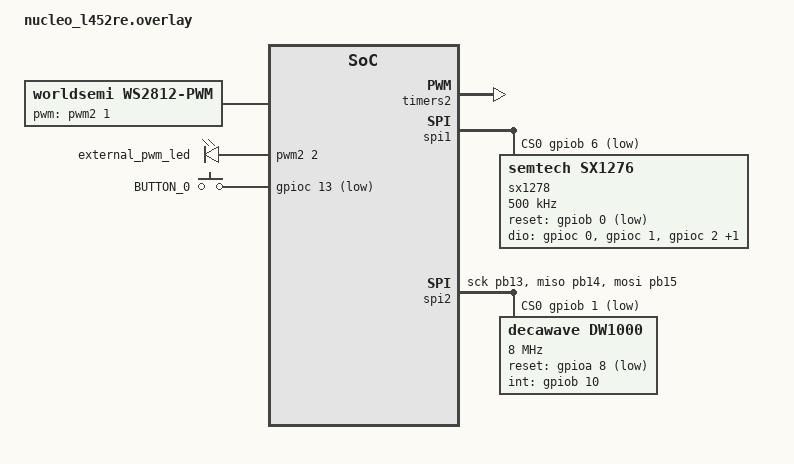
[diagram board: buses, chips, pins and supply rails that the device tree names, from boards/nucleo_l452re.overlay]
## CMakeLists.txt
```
cmake_minimum_required(VERSION 3.20)

if(NOT DEFINED BOARD)
    set(BOARD nucleo_l452re)
endif()

include(${CMAKE_CURRENT_SOURCE_DIR}/../modules/rts-zephyr/clion-zephyr.cmake)

project(lora_russia_railways VERSION 0.0.0)
FILE(GLOB_RECURSE SOURCES src/*.c src/*.cc src/*.cpp)
target_sources(app PRIVATE ${SOURCES})
target_include_directories(app PRIVATE ${CMAKE_CURRENT_SOURCE_DIR}/src/libs)
```

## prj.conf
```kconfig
# Common CONFIG begin
CONFIG_CPLUSPLUS=y
CONFIG_LIB_CPLUSPLUS=y
CONFIG_STD_CPP17=y
CONFIG_SYSTEM_WORKQUEUE_PRIORITY=0
# Common CONFIG end

# LoRa CONFIG begin
CONFIG_LORA=y
CONFIG_LORA_SX12XX=y
CONFIG_LORA_SX127X=y
CONFIG_HAS_SEMTECH_RADIO_DRIVERS=y
# LoRa CONFIG end

# WS2812 CONFIG begin
CONFIG_LED_STRIP=y
CONFIG_WS2812_STRIP=y
CONFIG_LED_UTILS=y
CONFIG_WS2812_STRIP_PWM=y
# WS2812 CONFIG end

# # DWM1000 CONFIG begin
CONFIG_MESHPOSITION=y
CONFIG_DW1000=y
CONFIG_DW1000_STARTUP_LOADUCODE=y
# # DWM1000 CONFIG end

# RNG GONFIG begin
CONFIG_ENTROPY_GENERATOR=y
CONFIG_ENTROPY_DEVICE_RANDOM_GENERATOR=y
CONFIG_ENTROPY_STM32_RNG=y
# RNG GONFIG end

# Peripherals CONFIG begin
CONFIG_GPIO=y
CONFIG_SPI=y
# CONFIG_SPI_STM32_DMA=y
CONFIG_PWM=y
CONFIG_DMA=y
# Peripherals CONFIG end

# Print CONFIG begin
CONFIG_NEWLIB_LIBC=y
CONFIG_NEWLIB_LIBC_FLOAT_PRINTF=y
CONFIG_PRINTK=y
# Print CONFIG end

# Stack CONFIG begin
CONFIG_MAIN_STACK_SIZE=4096
# CONFIG_IDLE_STACK_SIZE=4096
# CONFIG_LOG_PROCESS_THREAD_STACK_SIZE=4096
# CONFIG_SYSTEM_WORKQUEUE_STACK_SIZE=4096
# Stack CONFIG end
```

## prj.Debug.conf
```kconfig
# Optimize for debug
CONFIG_DEBUG_OPTIMIZATIONS=y

CONFIG_LOG=y
CONFIG_LOG_BACKEND_UART=y
CONFIG_LORA_LOG_LEVEL_DBG=y
CONFIG_LED_STRIP_LOG_LEVEL_DBG=y
CONFIG_LOG_DEFAULT_LEVEL=4
```

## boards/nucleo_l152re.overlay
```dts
/*
 * SPDX-License-Identifier: Apache-2.0
 *
 * Copyright (c) 2021 Planet Innovation
 */

&spi1 {
    pinctrl-0 = <&spi1_sck_pa5 &spi1_miso_pa6 &spi1_mosi_pa7>;
    status = "okay";
    cs-gpios = <&gpiob 6 (GPIO_ACTIVE_LOW)>;
    lora0: sx1278@0 {
        compatible = "semtech,sx1276";
        reg = <0>;
        label = "sx1278";
        reset-gpios = <&gpiob 0 (GPIO_ACTIVE_LOW | GPIO_OPEN_DRAIN)>; // GPIO_ACTIVE_LOW
        dio-gpios = <&gpioc 0 (GPIO_ACTIVE_HIGH | GPIO_PULL_DOWN)>,
                    <&gpioc 1 (GPIO_ACTIVE_HIGH | GPIO_PULL_DOWN)>,
                    <&gpioc 2 (GPIO_ACTIVE_HIGH | GPIO_PULL_DOWN)>,
                    <&gpioc 3 (GPIO_ACTIVE_HIGH | GPIO_PULL_DOWN)>;
        power-amplifier-output = "pa-boost";
        spi-max-frequency = <500000>;
    };
};

/*
&clk_hsi {
    status = "okay";
};


&pll {
    status = "okay";
    div = <2>;
    mul = <4>;
    clocks = <&clk_hsi>;
};
*/
```

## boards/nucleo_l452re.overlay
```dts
/*
 * SPDX-License-Identifier: Apache-2.0
 *
 * Copyright (c) 2021 Planet Innovation
 */
#include <dt-bindings/led/led.h>

/ {
    led_strip: ws2812 {
        compatible = "worldsemi,ws2812-pwm";
        label = "WS2812";
        chain-length = <16>; /* arbitrary */
        color-mapping = <LED_COLOR_ID_GREEN
                         LED_COLOR_ID_RED
                         LED_COLOR_ID_BLUE>;
        pwms = <&pwm2 1 0 PWM_POLARITY_NORMAL>;
        period-ns = <1250>;
    };

    pwmleds {
        compatible = "pwm-leds";
        external_pwm_led: external_pwm_led {
            pwms = <&pwm2 2 0 PWM_POLARITY_NORMAL>;
        };
    };

    gpio_keys {
        compatible = "gpio-keys";
        button_0: button_0 {
            label = "BUTTON_0";
            status = "okay";
            gpios = <&gpioc 13 (GPIO_ACTIVE_LOW | GPIO_PUSH_PULL)>;
        };
    };

	  aliases {
        sw0 = &button_0;
        led-strip = &led_strip;
        pwm-sound = &external_pwm_led;
    };
};


&timers2 {
    status = "okay";
    pwm2: pwm {
        status = "okay";
        pinctrl-0 = <&tim2_ch1_pa0 &tim2_ch2_pa1>;
    };
};

&dma1 {
    status = "okay";
};

&spi1 {
    status = "okay";
    cs-gpios = <&gpiob 6 (GPIO_ACTIVE_LOW)>;
    lora0: sx1278@0 {
        compatible = "semtech,sx1276";
        reg = <0>;
        label = "sx1278";
        reset-gpios = <&gpiob 0 (GPIO_ACTIVE_LOW | GPIO_OPEN_DRAIN)>; // GPIO_ACTIVE_LOW
        dio-gpios = <&gpioc 0 (GPIO_ACTIVE_HIGH | GPIO_PULL_DOWN)>,
                    <&gpioc 1 (GPIO_ACTIVE_HIGH | GPIO_PULL_DOWN)>,
                    <&gpioc 2 (GPIO_ACTIVE_HIGH | GPIO_PULL_DOWN)>,
                    <&gpioc 3 (GPIO_ACTIVE_HIGH | GPIO_PULL_DOWN)>;
        power-amplifier-output = "pa-boost";
        spi-max-frequency = <500000>;
    };
};


&spi2 {
    status = "okay";
    pinctrl-0 = <&spi2_sck_pb13 &spi2_miso_pb14 &spi2_mosi_pb15>;
    pinctrl-names = "default";
    cs-gpios = <&gpiob 1 (GPIO_ACTIVE_LOW | GPIO_PULL_UP)>;
    status = "okay";
    dmas = <&dma1 5 1 0x20440>, <&dma1 4 1 0x20480>;
    dma-names = "tx", "rx";
    uwb: dw1000@0 {
        compatible = "decawave,dw1000";
        reg = <0>;
        label = "DW1000";
        spi-max-frequency = <8000000>;
        reset-gpios = <&gpioa 8 (GPIO_ACTIVE_LOW)>;
        int-gpios = <&gpiob 10 (GPIO_ACTIVE_HIGH | GPIO_PULL_DOWN)>;
        tx-ant-delay=<0x4042>;
        rx-ant-delay=<0x4042>;
    };
};

&clk_hsi {
    status = "okay";
};


&pll {
    status = "okay";
    div-m = <1>;            /*  16 / 1  = 16MHz  */
    mul-n = <20>;           /*  16 * 20 = 320MHz */
    div-r = <4>;            /* 128 / 2  = 80MHz  */
    clocks = <&clk_hsi>;
};


&rcc {
	status = "okay";
	clocks = <&pll>;
	clock-frequency = <DT_FREQ_M(80)>;
	ahb-prescaler = <1>;
	apb1-prescaler = <1>;
	apb2-prescaler = <1>;
};
```

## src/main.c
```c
#include "lora_russia_railways_common.h"

#define STACK_SIZE 1024
#define PRIORITY_PROC 2
#define PRIORITY_MODEM_TASK (-2)

#if CUR_DEVICE == BASE_STATION
#include "lora_russia_railways_base_station.h"

K_THREAD_DEFINE(proc_task_id, STACK_SIZE,
                base_station_proc_task, NULL, NULL, NULL,
                PRIORITY_PROC, 0, 0);
K_THREAD_DEFINE(modem_task_id, STACK_SIZE,
                base_station_modem_task, NULL, NULL, NULL,
                PRIORITY_MODEM_TASK, 0, 0);
#elif CUR_DEVICE == SIGNALMAN
#include "lora_russia_railways_signalman.h"

K_THREAD_DEFINE(proc_task_id, STACK_SIZE,
                signalman_proc_task, NULL, NULL, NULL,
                PRIORITY_PROC, 0, 0);
K_THREAD_DEFINE(modem_task_id, STACK_SIZE,
                signalman_modem_task, NULL, NULL, NULL,
                PRIORITY_MODEM_TASK, 0, 0);
#elif CUR_DEVICE == BRIGADE_CHIEF
#include "lora_russia_railways_brigade_chief.h"

K_THREAD_DEFINE(proc_task_id, STACK_SIZE,
                brigade_chief_proc_task, NULL, NULL, NULL,
                PRIORITY_PROC, 0, 0);
K_THREAD_DEFINE(modem_task_id, STACK_SIZE,
                brigade_chief_modem_task, NULL, NULL, NULL,
                PRIORITY_MODEM_TASK, 0, 0);
#endif
```

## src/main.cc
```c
#include "russia_railways_common.h"

#define STACK_SIZE 1024

#define PRIORITY_PROC 0
#define PRIORITY_MODEM_TASK (-2)
#define PRIORITY_DWM_TASK (-1)

#if CUR_DEVICE == BASE_STATION

K_THREAD_DEFINE(proc_task_id, STACK_SIZE,
                base_station_proc_task, NULL, NULL, NULL,
                PRIORITY_PROC, 0, 0);
K_THREAD_DEFINE(modem_task_id, STACK_SIZE,
                base_station_modem_task, NULL, NULL, NULL,
                PRIORITY_MODEM_TASK, 0, 0);
K_THREAD_DEFINE(dwm_task_id, 2*STACK_SIZE,
                base_station_dwm_task, NULL, NULL, NULL,
                PRIORITY_DWM_TASK, 0, 0);
#elif CUR_DEVICE == SIGNALMAN

K_THREAD_DEFINE(proc_task_id, STACK_SIZE,
                signalman_proc_task, NULL, NULL, NULL,
                PRIORITY_PROC, 0, 0);
K_THREAD_DEFINE(modem_task_id, STACK_SIZE,
                signalman_modem_task, NULL, NULL, NULL,
                PRIORITY_MODEM_TASK, 0, 0);
#elif CUR_DEVICE == BRIGADE_CHIEF

K_THREAD_DEFINE(proc_task_id, STACK_SIZE,
                brigade_chief_proc_task, NULL, NULL, NULL,
                PRIORITY_PROC, 0, 0);
K_THREAD_DEFINE(modem_task_id, STACK_SIZE,
                brigade_chief_modem_task, NULL, NULL, NULL,
                PRIORITY_MODEM_TASK, 0, 0);

#elif CUR_DEVICE == WORKERS

K_THREAD_DEFINE(dwm_task_id, 2*STACK_SIZE,
                workers_dwm_task, NULL, NULL, NULL,
                PRIORITY_DWM_TASK, 0, 0);

#endif
```
